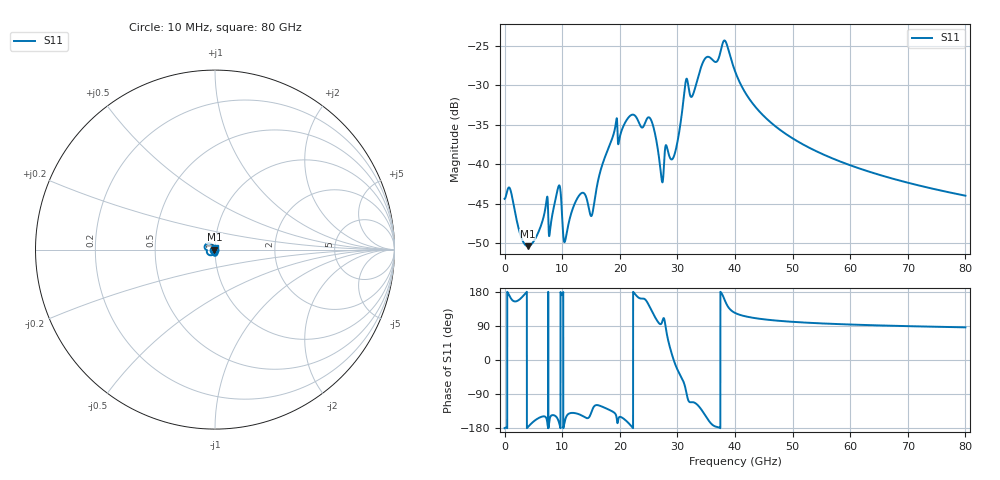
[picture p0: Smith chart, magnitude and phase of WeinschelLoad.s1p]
# Hz S DB R 50
!Touchstone multiport model file <C:\work\PySI\TestSignalIntegrity\OysterSimulation\ResampledSimbeor\WeinschelLoad.s1p>
!Created on 22 Aug 18, at 17:55:45.
!Created with Simbeor THz 2018.01(64bit) of Simberian Inc. built on Jul 20 2018
!Output from MultiportParameters of Simbeor.
!Multiport parameters: DataOrigin=Simulation DataOriginName="Project(1).WeinschelLoad_resampled.LNS"
!RESAMPLED_RCM: Max_RMS_Error=0.0203475; FrqLow=0; FrqHigh=4e+10; MaxTimeResolution=1.25e-11; PassivityState=1; ReciprocityState=1; DataSource="p³HÀn"
!RATIONAL COMPACTOR: Precision: Normal; Extract Delay: ON; Extrapolate to DC: ON; Extrapolate to Infinity: OFF; Enforce Passivity: ON; Enforce Reciprocity: ON; Band Limit Factor: 1; Auto-Adjust Config: OFF
!Uncomment the following lines with keywords in square brakets to support IBIS forum specification 2.0.
![Version] 2.0 !This line should be the first in file, preceeding the line starting with #.
![Number of Ports] 1
![Number of Frequencies] 8001
![Reference] 50
!!!!Multiport descriptor profile: InputCount=1 TotalPortCount=1
!DescriptorOutline={DescriptorType=SMatrix InputSpace=Terminal NormalizationType=CommonZo NormalizationCommonZo=50 Ohm OutputFormat=DBMagnitudeAngle}
!InputProfile={Name="IO1" IsTLineInput=False InputNumber=1 PortCount=1 FirstPortNumber=1 InputSpace=Terminal BlockType=SBlock NormalizationType=CommonZo Zo=50}
!!!Global port number to input_name/local_port_number correspondence:
!Port 1 -> "IO1"/local_port_1 (terminal)
!!!!End of descriptor profile.
!Frequency Hz 20.0*log(|S[1,1]|) arg(S[1,1])
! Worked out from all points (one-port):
!   8000 points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, 10 MHz to 80 GHz, reference 50 ohm
!   lowest |S11| = -50.3 dB at 4.05 GHz (marker M1), VSWR 1.01, Z = 49.7 - j0.0158 ohm
!   |S11| at or under -10 dB: start of sweep to end of sweep
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1e7  -44.37 -179.9
9.7e8  -43.12 166.1
4.05e9  -50.35 -177.0
7.16e9  -45.22 -151.0
8.01e9  -47.69 -148.3
9.34e9  -42.85 -159.6
1.001e10  -46.82 171.4
1.057e10  -49.52 -155.3
1.349e10  -43.60 -147.3
1.512e10  -46.50 -135.8
1.916e10  -35.51 -140.6
2.001e10  -36.55 -150.0
2.192e10  -33.80 -173.0
2.519e10  -34.12 140.4
2.73e10  -42.05 98.1
2.809e10  -37.62 75.6
2.912e10  -39.35 11.5
3.001e10  -37.19 -25.2
3.148e10  -29.41 -80.0
3.262e10  -31.33 -111.2
3.483e10  -26.61 -146.1
3.825e10  -24.37 157.0
4.001e10  -28.23 124.2
4.375e10  -32.92 109.9
5.001e10  -36.72 100.7
6.001e10  -40.12 93.6
7.001e10  -42.33 89.3
8e10  -43.97 86.1
